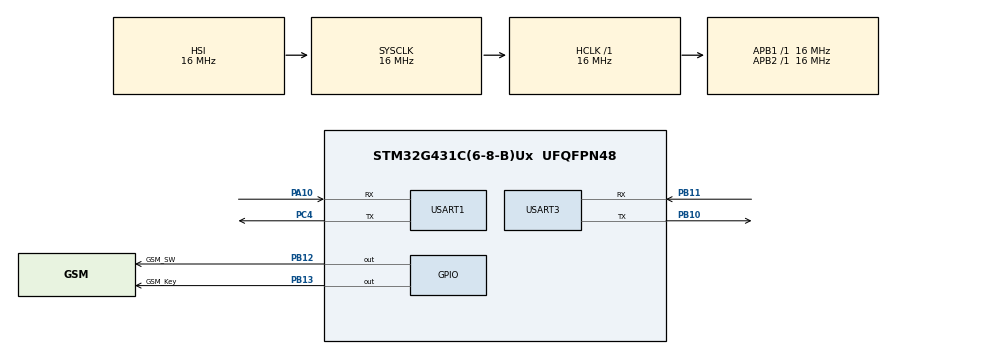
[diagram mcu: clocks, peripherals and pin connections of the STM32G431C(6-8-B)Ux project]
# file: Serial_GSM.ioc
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Dma.Request0=USART3_RX
Dma.USART3_RX.0.Direction=DMA_PERIPH_TO_MEMORY
Dma.USART3_RX.0.EventEnable=DISABLE
Dma.USART3_RX.0.Instance=DMA1_Channel1
Dma.USART3_RX.0.MemDataAlignment=DMA_MDATAALIGN_BYTE
Dma.USART3_RX.0.MemInc=DMA_MINC_ENABLE
Dma.USART3_RX.0.Mode=DMA_CIRCULAR
Dma.USART3_RX.0.PeriphDataAlignment=DMA_PDATAALIGN_BYTE
Dma.USART3_RX.0.PeriphInc=DMA_PINC_DISABLE
Dma.USART3_RX.0.Polarity=HAL_DMAMUX_REQ_GEN_RISING
Dma.USART3_RX.0.Priority=DMA_PRIORITY_LOW
Dma.USART3_RX.0.RequestNumber=1
Dma.USART3_RX.0.SignalID=NONE
Dma.USART3_RX.0.SyncEnable=DISABLE
Dma.USART3_RX.0.SyncPolarity=HAL_DMAMUX_SYNC_NO_EVENT
Dma.USART3_RX.0.SyncRequestNumber=1
Dma.USART3_RX.0.SyncSignalID=NONE
Mcu.Family=STM32G4
Mcu.Name=STM32G431C(6-8-B)Ux
Mcu.Package=UFQFPN48
NVIC.DMA1_Channel1_IRQn=true\:0\:0\:false\:false\:true\:false\:true\:true
NVIC.PriorityGroup=NVIC_PRIORITYGROUP_4
NVIC.USART3_IRQn=true\:0\:0\:false\:false\:true\:true\:true\:true
PA10.Mode=Asynchronous
PA10.Signal=USART1_RX
PB10.Mode=Asynchronous
PB10.Signal=USART3_TX
PB11.Mode=Asynchronous
PB11.Signal=USART3_RX
PB12.GPIO_Label=GSM_SW
PB12.Signal=GPIO_Output
PB13.GPIO_Label=GSM_Key
PB13.Signal=GPIO_Output
PC4.Mode=Asynchronous
PC4.Signal=USART1_TX
ProjectManager.HeapSize=0x200
ProjectManager.StackSize=0x400
ProjectManager.TargetToolchain=STM32CubeIDE
RCC.AHBFreq_Value=16000000
RCC.APB1Freq_Value=16000000
RCC.APB1TimFreq_Value=16000000
RCC.APB2Freq_Value=16000000
RCC.APB2TimFreq_Value=16000000
RCC.CortexFreq_Value=16000000
RCC.EXTERNAL_CLOCK_VALUE=12288000
RCC.HCLKFreq_Value=16000000
RCC.HSE_VALUE=8000000
RCC.HSI48_VALUE=48000000
RCC.HSI_VALUE=16000000
RCC.LSE_VALUE=32768
RCC.SYSCLKFreq_VALUE=16000000
RCC.USBFreq_Value=64000000
RCC.VCOOutputFreq_Value=128000000
USART1.VirtualMode-Asynchronous=VM_ASYNC
USART3.VirtualMode-Asynchronous=VM_ASYNC
VP_SYS_VS_DBSignals.Mode=DisableDeadBatterySignals
board=custom

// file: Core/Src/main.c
/* USER CODE BEGIN Header */
/**
  ******************************************************************************
  * @file           : main.c
  * @brief          : Main program body
  ******************************************************************************
  * @attention
  *
  * Copyright (c) 2025 STMicroelectronics.
  * All rights reserved.
  *
  * This software is licensed under terms that can be found in the LICENSE file
  * in the root directory of this software component.
  * If no LICENSE file comes with this software, it is provided AS-IS.
  *
  ******************************************************************************
  */
/* USER CODE END Header */
#include "main.h"

/* USER CODE BEGIN Includes */
#include "GSM.h"
#include "Serial_UART.h"
/* USER CODE END Includes */

UART_HandleTypeDef huart1;
UART_HandleTypeDef huart3;
DMA_HandleTypeDef hdma_usart3_rx;

/* USER CODE BEGIN PV */
GSMPar GSMVari;
TimeStampLog TimeFormat;
OTAPra OTAVar;
/* USER CODE END PV */

void SystemClock_Config(void);
static void MX_GPIO_Init(void);
static void MX_DMA_Init(void);
static void MX_USART3_UART_Init(void);
static void MX_USART1_UART_Init(void);

int main(void)
{

  /* MCU Configuration--------------------------------------------------------*/

  /* Reset of all peripherals, Initializes the Flash interface and the Systick. */
  HAL_Init();

  /* Configure the system clock */
  SystemClock_Config();

  /* Initialize all configured peripherals */
  MX_GPIO_Init();
  MX_DMA_Init();
  MX_USART3_UART_Init();
  MX_USART1_UART_Init();
  /* USER CODE BEGIN 2 */
  printf("Test GSM 4\n");

  memset(&GSMVari,0,sizeof(GSMVari));
  memset(&TimeFormat,0,sizeof(TimeFormat));

  GSMVari.ResetStatus = NotInReset;
  printf("ON\n");
  HAL_GPIO_WritePin(GSM_SW_GPIO_Port, GSM_SW_Pin, GPIO_PIN_SET);
  HAL_Delay(300);
  HAL_GPIO_WritePin(GSM_Key_GPIO_Port, GSM_Key_Pin,GPIO_PIN_SET);
  HAL_Delay(2500);
  HAL_GPIO_WritePin(GSM_Key_GPIO_Port, GSM_Key_Pin,GPIO_PIN_RESET);

  Serial_Init(&huart3);

  GSMInit();
  GSMConnectMqtt();
  /* USER CODE END 2 */

  /* Infinite loop */
  while (1)
  {

    /* USER CODE BEGIN 3 */
	  atSend("AT+QLTS=2\r\n", "+QLTS:", 1000, 1);
	  atSend("AT+CSQ\r\n", "+CSQ:", 1000, 1);
//	  atSend("AT+CMGL=\"REC UNREAD\"\r\n", "OK", 1000, 1);
//	  atSend("AT+CPMS?\r\n", "OK", 1000, 1);
	  GSM_ProcessStoredSmsFromMaster_Reassemble();
	  HAL_Delay(10000);

  }
  /* USER CODE END 3 */
}

void SystemClock_Config(void)
{
  RCC_OscInitTypeDef RCC_OscInitStruct = {0};
  RCC_ClkInitTypeDef RCC_ClkInitStruct = {0};

  /** Configure the main internal regulator output voltage
  */
  HAL_PWREx_ControlVoltageScaling(PWR_REGULATOR_VOLTAGE_SCALE1);

  /** Initializes the RCC Oscillators according to the specified parameters
  * in the RCC_OscInitTypeDef structure.
  */
  RCC_OscInitStruct.OscillatorType = RCC_OSCILLATORTYPE_HSI;
  RCC_OscInitStruct.HSIState = RCC_HSI_ON;
  RCC_OscInitStruct.HSICalibrationValue = RCC_HSICALIBRATION_DEFAULT;
  RCC_OscInitStruct.PLL.PLLState = RCC_PLL_NONE;
  if (HAL_RCC_OscConfig(&RCC_OscInitStruct) != HAL_OK)
  {
    Error_Handler();
  }

  /** Initializes the CPU, AHB and APB buses clocks
  */
  RCC_ClkInitStruct.ClockType = RCC_CLOCKTYPE_HCLK|RCC_CLOCKTYPE_SYSCLK
                              |RCC_CLOCKTYPE_PCLK1|RCC_CLOCKTYPE_PCLK2;
  RCC_ClkInitStruct.SYSCLKSource = RCC_SYSCLKSOURCE_HSI;
  RCC_ClkInitStruct.AHBCLKDivider = RCC_SYSCLK_DIV1;
  RCC_ClkInitStruct.APB1CLKDivider = RCC_HCLK_DIV1;
  RCC_ClkInitStruct.APB2CLKDivider = RCC_HCLK_DIV1;

  if (HAL_RCC_ClockConfig(&RCC_ClkInitStruct, FLASH_LATENCY_0) != HAL_OK)
  {
    Error_Handler();
  }
}

static void MX_USART1_UART_Init(void)
{

  huart1.Instance = USART1;
  huart1.Init.BaudRate = 115200;
  huart1.Init.WordLength = UART_WORDLENGTH_8B;
  huart1.Init.StopBits = UART_STOPBITS_1;
  huart1.Init.Parity = UART_PARITY_NONE;
  huart1.Init.Mode = UART_MODE_TX_RX;
  huart1.Init.HwFlowCtl = UART_HWCONTROL_NONE;
  huart1.Init.OverSampling = UART_OVERSAMPLING_16;
  huart1.Init.OneBitSampling = UART_ONE_BIT_SAMPLE_DISABLE;
  huart1.Init.ClockPrescaler = UART_PRESCALER_DIV1;
  huart1.AdvancedInit.AdvFeatureInit = UART_ADVFEATURE_NO_INIT;
  if (HAL_UART_Init(&huart1) != HAL_OK)
  {
    Error_Handler();
  }
  if (HAL_UARTEx_SetTxFifoThreshold(&huart1, UART_TXFIFO_THRESHOLD_1_8) != HAL_OK)
  {
    Error_Handler();
  }
  if (HAL_UARTEx_SetRxFifoThreshold(&huart1, UART_RXFIFO_THRESHOLD_1_8) != HAL_OK)
  {
    Error_Handler();
  }
  if (HAL_UARTEx_DisableFifoMode(&huart1) != HAL_OK)
  {
    Error_Handler();
  }

}

static void MX_USART3_UART_Init(void)
{

  huart3.Instance = USART3;
  huart3.Init.BaudRate = 115200;
  huart3.Init.WordLength = UART_WORDLENGTH_8B;
  huart3.Init.StopBits = UART_STOPBITS_1;
  huart3.Init.Parity = UART_PARITY_NONE;
  huart3.Init.Mode = UART_MODE_TX_RX;
  huart3.Init.HwFlowCtl = UART_HWCONTROL_NONE;
  huart3.Init.OverSampling = UART_OVERSAMPLING_16;
  huart3.Init.OneBitSampling = UART_ONE_BIT_SAMPLE_DISABLE;
  huart3.Init.ClockPrescaler = UART_PRESCALER_DIV1;
  huart3.AdvancedInit.AdvFeatureInit = UART_ADVFEATURE_NO_INIT;
  if (HAL_UART_Init(&huart3) != HAL_OK)
  {
    Error_Handler();
  }
  if (HAL_UARTEx_SetTxFifoThreshold(&huart3, UART_TXFIFO_THRESHOLD_1_8) != HAL_OK)
  {
    Error_Handler();
  }
  if (HAL_UARTEx_SetRxFifoThreshold(&huart3, UART_RXFIFO_THRESHOLD_1_8) != HAL_OK)
  {
    Error_Handler();
  }
  if (HAL_UARTEx_DisableFifoMode(&huart3) != HAL_OK)
  {
    Error_Handler();
  }

}

static void MX_DMA_Init(void)
{

  /* DMA controller clock enable */
  __HAL_RCC_DMAMUX1_CLK_ENABLE();
  __HAL_RCC_DMA1_CLK_ENABLE();

  /* DMA interrupt init */
  /* DMA1_Channel1_IRQn interrupt configuration */
  HAL_NVIC_SetPriority(DMA1_Channel1_IRQn, 0, 0);
  HAL_NVIC_EnableIRQ(DMA1_Channel1_IRQn);

}

static void MX_GPIO_Init(void)
{
  GPIO_InitTypeDef GPIO_InitStruct = {0};

  /* GPIO Ports Clock Enable */
  __HAL_RCC_GPIOC_CLK_ENABLE();
  __HAL_RCC_GPIOB_CLK_ENABLE();
  __HAL_RCC_GPIOA_CLK_ENABLE();

  /*Configure GPIO pin Output Level */
  HAL_GPIO_WritePin(GPIOB, GSM_SW_Pin|GSM_Key_Pin, GPIO_PIN_RESET);

  /*Configure GPIO pins : GSM_SW_Pin GSM_Key_Pin */
  GPIO_InitStruct.Pin = GSM_SW_Pin|GSM_Key_Pin;
  GPIO_InitStruct.Mode = GPIO_MODE_OUTPUT_PP;
  GPIO_InitStruct.Pull = GPIO_NOPULL;
  GPIO_InitStruct.Speed = GPIO_SPEED_FREQ_LOW;
  HAL_GPIO_Init(GPIOB, &GPIO_InitStruct);

}

/* USER CODE BEGIN 4 */
PUTCHAR_PROTOTYPE
{
  HAL_UART_Transmit(&huart1, (uint8_t *)&ch, 1, 1000);
  return ch;
}
/* USER CODE END 4 */

void Error_Handler(void)
{
  __disable_irq();
  while (1)
  {
  }
}
